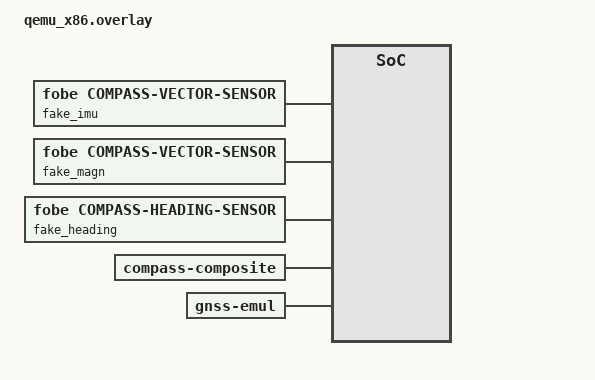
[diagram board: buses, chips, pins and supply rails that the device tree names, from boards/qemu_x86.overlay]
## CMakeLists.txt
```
# Copyright (c) 2026 FoBE Studio
# SPDX-License-Identifier: Apache-2.0

cmake_minimum_required(VERSION 3.20.0)

list(APPEND DTS_ROOT ${CMAKE_CURRENT_SOURCE_DIR})

find_package(Zephyr REQUIRED HINTS $ENV{ZEPHYR_BASE})
project(mbs_gnss_heading_contract_test)

zephyr_linker_sources(DATA_SECTIONS power_action_iterable.ld)

if(CONFIG_COMPASS_COMPOSITE)
	target_sources(app PRIVATE src/test_api.c)
else()
	target_sources(app PRIVATE src/test_direct.c)
endif()
```

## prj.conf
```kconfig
# SPDX-FileCopyrightText: FoBE Studio
# SPDX-License-Identifier: Apache-2.0

CONFIG_ZTEST=y
CONFIG_ASSERT=y
CONFIG_LOG=y
CONFIG_LOG_MODE_MINIMAL=y

CONFIG_SENSOR=y
CONFIG_GNSS=y
CONFIG_GNSS_EMUL=y
CONFIG_PM_DEVICE=y
CONFIG_PM_DEVICE_RUNTIME=y

CONFIG_MBS=y
CONFIG_SHELL=y
CONFIG_MBS_SHELL=y
CONFIG_MBS_GNSS=y
CONFIG_MBS_GNSS_SHELL=n
CONFIG_MBS_GNSS_STATS=n
CONFIG_MBS_GNSS_DEFAULT_ENABLED=n
CONFIG_MBS_GNSS_HEADING_SAMPLE_INTERVAL=20
CONFIG_MBS_GNSS_HEADING_PROVIDER_SETTLE_MS=0
CONFIG_MBS_STATS=y

CONFIG_ZBUS_RUNTIME_OBSERVERS=y
CONFIG_SETTINGS=y
CONFIG_SETTINGS_NONE=y

CONFIG_MAIN_STACK_SIZE=4096
CONFIG_SYSTEM_WORKQUEUE_STACK_SIZE=4096
CONFIG_ZTEST_STACK_SIZE=4096
```

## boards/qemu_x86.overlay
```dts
/*
 * Copyright (c) 2026 FoBE Studio
 *
 * SPDX-License-Identifier: Apache-2.0
 */

/ {
	fake_imu: fake-imu {
		compatible = "fobe,compass-vector-sensor";
		status = "okay";
		role = "imu";
	};

	fake_magn: fake-magn {
		compatible = "fobe,compass-vector-sensor";
		status = "okay";
		role = "magnetometer";
	};

	fake_heading: fake-heading {
		compatible = "fobe,compass-heading-sensor";
		status = "okay";
	};

	compass: compass {
		compatible = "zephyr,compass-composite";
		status = "okay";
		accel-source = <&fake_imu>;
		gyro-source = <&fake_imu>;
		magn-source = <&fake_magn>;
		source-startup-delay-ms = <0>;
		source-idle-timeout-ms = <0>;
		calibration-sample-period-ms = <0>;
		gyro-fusion-alpha-milli = <980>;
		imu-rate-override-supported;
	};

	chosen {
		meshbus,compass = &compass;
		meshbus,gnss = &gnss;
	};

	gnss: gnss {
		compatible = "zephyr,gnss-emul";
		status = "okay";
	};
};
```

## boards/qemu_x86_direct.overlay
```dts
/*
 * Copyright (c) 2026 FoBE Studio
 *
 * SPDX-License-Identifier: Apache-2.0
 */

/ {
	fake_imu: fake-imu {
		compatible = "fobe,compass-vector-sensor";
		status = "okay";
		role = "imu";
	};

	fake_magn: fake-magn {
		compatible = "fobe,compass-vector-sensor";
		status = "okay";
		role = "magnetometer";
	};

	fake_heading: fake-heading {
		compatible = "fobe,compass-heading-sensor";
		status = "okay";
	};

	compass: compass {
		compatible = "zephyr,compass-composite";
		status = "okay";
		accel-source = <&fake_imu>;
		gyro-source = <&fake_imu>;
		magn-source = <&fake_magn>;
		source-startup-delay-ms = <0>;
		source-idle-timeout-ms = <0>;
		calibration-sample-period-ms = <0>;
		gyro-fusion-alpha-milli = <980>;
	};

	chosen {
		meshbus,compass = &fake_heading;
	};
};
```

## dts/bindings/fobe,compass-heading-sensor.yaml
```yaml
description: Fake direct heading sensor for Meshbus GNSS heading tests

compatible: fobe,compass-heading-sensor

include: sensor-device.yaml
```

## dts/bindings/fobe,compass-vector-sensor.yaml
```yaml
# Copyright (c) 2026 FoBE Studio
# SPDX-License-Identifier: Apache-2.0

description: Fake vector sensor for Meshbus GNSS heading tests

compatible: fobe,compass-vector-sensor

include: sensor-device.yaml

properties:
  role:
    type: string
    required: true
    enum:
      - imu
      - magnetometer
```

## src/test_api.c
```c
/*
 * Copyright (c) 2026 FoBE Studio
 *
 * SPDX-License-Identifier: Apache-2.0
 */

#define DT_DRV_COMPAT fobe_compass_vector_sensor

#include <errno.h>
#include <string.h>

#include <zephyr/device.h>
#include <zephyr/drivers/sensor.h>
#include <drivers/sensor/compass_composite.h>
#include <zephyr/kernel.h>
#include <gnss/gnss.h>
#include <zephyr/pm/device.h>
#include <zephyr/pm/device_runtime.h>
#include <zephyr/sys/atomic.h>
#include <zephyr/ztest.h>

#define FAKE_IMU_NODE  DT_NODELABEL(fake_imu)
#define FAKE_MAGN_NODE DT_NODELABEL(fake_magn)
#define COMPASS_NODE   DT_NODELABEL(compass)

enum fake_vector_role {
	FAKE_VECTOR_ROLE_IMU,
	FAKE_VECTOR_ROLE_MAGNETOMETER,
};

struct fake_vector_config {
	enum fake_vector_role role;
};

struct fake_vector_data {
	atomic_t fetch_count;
	atomic_t resume_count;
	atomic_t suspend_count;
	atomic_t fetch_error;
	atomic_t gyro_attr_set_error;
	atomic_t resume_error;
	atomic_t suspend_error;
	atomic_t fail_resume_after_suspend;
	struct sensor_value accel_rate;
	struct sensor_value gyro_rate;
};

static const struct device *const fake_imu = DEVICE_DT_GET(FAKE_IMU_NODE);
static const struct device *const fake_magn = DEVICE_DT_GET(FAKE_MAGN_NODE);
static const struct device *const compass = DEVICE_DT_GET(COMPASS_NODE);

static int fake_vector_pm_action(const struct device *dev, enum pm_device_action action)
{
	struct fake_vector_data *data = dev->data;

	switch (action) {
	case PM_DEVICE_ACTION_RESUME:
		if (atomic_get(&data->resume_error) != 0) {
			return (int)atomic_get(&data->resume_error);
		}
		atomic_inc(&data->resume_count);
		return 0;
	case PM_DEVICE_ACTION_SUSPEND:
		if (atomic_get(&data->suspend_error) != 0) {
			return (int)atomic_get(&data->suspend_error);
		}
		atomic_inc(&data->suspend_count);
		if (atomic_cas(&data->fail_resume_after_suspend, 1, 0)) {
			atomic_set(&data->resume_error, -EIO);
		}
		return 0;
	case PM_DEVICE_ACTION_TURN_ON:
	case PM_DEVICE_ACTION_TURN_OFF:
		return 0;
	default:
		return -ENOTSUP;
	}
}

static int fake_vector_init(const struct device *dev)
{
	struct fake_vector_data *data = dev->data;

	data->accel_rate = (struct sensor_value){.val1 = 12, .val2 = 500000};
	data->gyro_rate = data->accel_rate;
	return pm_device_driver_init(dev, fake_vector_pm_action);
}

static int fake_vector_sample_fetch(const struct device *dev, enum sensor_channel chan)
{
	struct fake_vector_data *data = dev->data;

	ARG_UNUSED(chan);
	atomic_inc(&data->fetch_count);
	return (int)atomic_get(&data->fetch_error);
}

static int fake_vector_channel_get(const struct device *dev, enum sensor_channel chan,
				   struct sensor_value *val)
{
	const struct fake_vector_config *cfg = dev->config;

	if (val == NULL) {
		return -EINVAL;
	}

	for (size_t i = 0; i < 3U; i++) {
		val[i] = (struct sensor_value){0};
	}
	if (cfg->role == FAKE_VECTOR_ROLE_IMU && chan == SENSOR_CHAN_ACCEL_XYZ) {
		val[2].val1 = 1;
		return 0;
	}
	if (cfg->role == FAKE_VECTOR_ROLE_IMU && chan == SENSOR_CHAN_GYRO_XYZ) {
		return 0;
	}
	if (cfg->role == FAKE_VECTOR_ROLE_MAGNETOMETER && chan == SENSOR_CHAN_MAGN_XYZ) {
		val[0].val1 = 1;
		return 0;
	}
	return -ENOTSUP;
}

static int fake_vector_attr_set(const struct device *dev, enum sensor_channel chan,
				enum sensor_attribute attr, const struct sensor_value *val)
{
	const struct fake_vector_config *cfg = dev->config;
	struct fake_vector_data *data = dev->data;

	if (val == NULL || cfg->role != FAKE_VECTOR_ROLE_IMU ||
	    attr != SENSOR_ATTR_SAMPLING_FREQUENCY) {
		return -ENOTSUP;
	}
	if (chan == SENSOR_CHAN_ACCEL_XYZ) {
		data->accel_rate = *val;
		return 0;
	}
	if (chan == SENSOR_CHAN_GYRO_XYZ) {
		if (atomic_get(&data->gyro_attr_set_error) != 0) {
			return (int)atomic_get(&data->gyro_attr_set_error);
		}
		data->gyro_rate = *val;
		return 0;
	}
	return -ENOTSUP;
}

static int fake_vector_attr_get(const struct device *dev, enum sensor_channel chan,
				enum sensor_attribute attr, struct sensor_value *val)
{
	const struct fake_vector_config *cfg = dev->config;
	struct fake_vector_data *data = dev->data;

	if (val == NULL || cfg->role != FAKE_VECTOR_ROLE_IMU ||
	    attr != SENSOR_ATTR_SAMPLING_FREQUENCY) {
		return -ENOTSUP;
	}
	if (chan == SENSOR_CHAN_ACCEL_XYZ) {
		*val = data->accel_rate;
		return 0;
	}
	if (chan == SENSOR_CHAN_GYRO_XYZ) {
		*val = data->gyro_rate;
		return 0;
	}
	return -ENOTSUP;
}

static DEVICE_API(sensor, fake_vector_api) = {
	.sample_fetch = fake_vector_sample_fetch,
	.channel_get = fake_vector_channel_get,
	.attr_set = fake_vector_attr_set,
	.attr_get = fake_vector_attr_get,
};

#define FAKE_VECTOR_DEFINE(inst)                                                         \
	static struct fake_vector_data fake_vector_data_##inst;                           \
	static const struct fake_vector_config fake_vector_config_##inst = {              \
		.role = DT_INST_ENUM_IDX(inst, role),                                        \
	};                                                                                 \
	PM_DEVICE_DT_INST_DEFINE(inst, fake_vector_pm_action);                              \
	SENSOR_DEVICE_DT_INST_DEFINE(inst, fake_vector_init, PM_DEVICE_DT_INST_GET(inst),   \
				     &fake_vector_data_##inst, &fake_vector_config_##inst,    \
				     POST_KERNEL, CONFIG_SENSOR_INIT_PRIORITY, &fake_vector_api);

DT_INST_FOREACH_STATUS_OKAY(FAKE_VECTOR_DEFINE)

static struct fake_vector_data *fake_data(const struct device *dev)
{
	return dev->data;
}

static void fake_counters_reset(const struct device *dev)
{
	struct fake_vector_data *data = fake_data(dev);

	atomic_set(&data->fetch_count, 0);
	atomic_set(&data->resume_count, 0);
	atomic_set(&data->suspend_count, 0);
	atomic_set(&data->fetch_error, 0);
	atomic_set(&data->gyro_attr_set_error, 0);
	atomic_set(&data->resume_error, 0);
	atomic_set(&data->suspend_error, 0);
	atomic_set(&data->fail_resume_after_suspend, 0);
	data->accel_rate = (struct sensor_value){.val1 = 12, .val2 = 500000};
	data->gyro_rate = data->accel_rate;
}

static void wait_for_sequence_after(uint32_t sequence,
				    struct mbs_gnss_heading_snapshot *snapshot)
{
	for (size_t attempt = 0; attempt < 50U; attempt++) {
		zassert_ok(mbs_gnss_heading_snapshot_get(snapshot));
		if (snapshot->sequence > sequence &&
		    snapshot->state != MBS_GNSS_HEADING_STATE_STARTING) {
			return;
		}
		k_sleep(K_MSEC(10));
	}
	zassert_unreachable("Compass sample did not complete");
}

static void compass_release_all(void)
{
	struct mbs_gnss_heading_runtime_status status;

	zassert_ok(mbs_gnss_heading_runtime_status_get(&status));
	while (status.active_client_count > 0U) {
		zassert_ok(mbs_gnss_heading_release());
		zassert_ok(mbs_gnss_heading_runtime_status_get(&status));
	}
}

static void *compass_setup(void)
{
	zassert_true(device_is_ready(fake_imu));
	zassert_true(device_is_ready(fake_magn));
	zassert_true(device_is_ready(compass));
	compass_release_all();
	return NULL;
}

static void compass_before(void *fixture)
{
	mbs_gnss_config cfg;

	ARG_UNUSED(fixture);
	atomic_set(&fake_data(fake_imu)->gyro_attr_set_error, 0);
	atomic_set(&fake_data(fake_imu)->resume_error, 0);
	atomic_set(&fake_data(fake_imu)->suspend_error, 0);
	atomic_set(&fake_data(fake_magn)->resume_error, 0);
	atomic_set(&fake_data(fake_magn)->suspend_error, 0);
	compass_release_all();
	zassert_ok(mbs_gnss_config_get(&cfg));
	cfg.enabled = false;
	cfg.has_electronic_compass = true;
	cfg.electronic_compass = true;
	zassert_ok(mbs_gnss_config_set(&cfg));
	fake_counters_reset(fake_imu);
	fake_counters_reset(fake_magn);
}

ZTEST(mbs_gnss_heading_contract, test_composite_sources_are_unique)
{
	const struct device *sources[3];

	zassert_equal(compass_composite_sources_get(compass, NULL, 0U), 2);
	zassert_equal(compass_composite_sources_get(compass, sources, ARRAY_SIZE(sources)), 2);
	zassert_equal_ptr(sources[0], fake_imu);
	zassert_equal_ptr(sources[1], fake_magn);
}

ZTEST(mbs_gnss_heading_contract, test_idle_service_does_not_poll_or_power_provider)
{
	struct mbs_gnss_heading_runtime_status status;
	struct mbs_gnss_heading_snapshot before;
	struct mbs_gnss_heading_snapshot after;

	zassert_ok(mbs_gnss_heading_runtime_status_get(&status));
	zassert_false(status.active);
	zassert_equal(status.active_client_count, 0U);
	zassert_equal(status.sample_interval_ms, CONFIG_MBS_GNSS_HEADING_SAMPLE_INTERVAL);
	zassert_ok(mbs_gnss_heading_snapshot_get(&before));
	zassert_equal(before.source, MBS_GNSS_HEADING_SOURCE_ELECTRONIC);
	k_sleep(K_MSEC(CONFIG_MBS_GNSS_HEADING_SAMPLE_INTERVAL * 3U));
	zassert_ok(mbs_gnss_heading_snapshot_get(&after));
	zassert_equal(after.sequence, before.sequence);
	zassert_equal(after.state, MBS_GNSS_HEADING_STATE_IDLE);
	zassert_false(after.valid);
	zassert_equal(atomic_get(&fake_data(fake_imu)->fetch_count), 0);
	zassert_equal(atomic_get(&fake_data(fake_magn)->fetch_count), 0);
	zassert_equal(pm_device_runtime_usage(fake_imu), 0);
	zassert_equal(pm_device_runtime_usage(fake_magn), 0);
	zassert_equal(mbs_gnss_heading_release(), -EALREADY);
}

ZTEST(mbs_gnss_heading_contract, test_page_lease_is_refcounted_and_restores_provider)
{
	struct mbs_gnss_heading_runtime_status status;
	struct mbs_gnss_heading_snapshot before;
	struct mbs_gnss_heading_snapshot after;
	struct sensor_value rate;

	zassert_ok(mbs_gnss_heading_snapshot_get(&before));
	zassert_ok(mbs_gnss_heading_acquire());
	zassert_ok(mbs_gnss_heading_runtime_status_get(&status));
	zassert_true(status.active);
	zassert_equal(status.active_client_count, 1U);
	zassert_true((status.capabilities & COMPASS_CAP_RATE_OVERRIDE) != 0U);
	zassert_equal(pm_device_runtime_usage(fake_imu), 1);
	zassert_equal(pm_device_runtime_usage(fake_magn), 1);
	zassert_ok(sensor_attr_get(fake_imu, SENSOR_CHAN_ACCEL_XYZ,
				   SENSOR_ATTR_SAMPLING_FREQUENCY, &rate));
	zassert_equal(rate.val1, CONFIG_MBS_GNSS_HEADING_PROVIDER_FAST_FREQUENCY);
	zassert_ok(sensor_attr_get(fake_imu, SENSOR_CHAN_GYRO_XYZ,
				   SENSOR_ATTR_SAMPLING_FREQUENCY, &rate));
	zassert_equal(rate.val1, CONFIG_MBS_GNSS_HEADING_PROVIDER_FAST_FREQUENCY);

	wait_for_sequence_after(before.sequence, &after);
	zassert_true(after.valid);
	zassert_equal(after.state, MBS_GNSS_HEADING_STATE_READY);
	zassert_equal(after.last_error, 0);
	zassert_true(after.source_timestamp_ms > 0U);
	zassert_within(after.heading_milli_deg, 0, 1);
	zassert_equal(after.source, MBS_GNSS_HEADING_SOURCE_ELECTRONIC);

	zassert_ok(mbs_gnss_heading_acquire());
	zassert_ok(mbs_gnss_heading_runtime_status_get(&status));
	zassert_equal(status.active_client_count, 2U);
	zassert_equal(atomic_get(&fake_data(fake_imu)->resume_count), 1);
	zassert_equal(atomic_get(&fake_data(fake_magn)->resume_count), 1);
	zassert_ok(mbs_gnss_heading_release());
	zassert_ok(mbs_gnss_heading_runtime_status_get(&status));
	zassert_true(status.active);
	zassert_equal(status.active_client_count, 1U);

	zassert_ok(mbs_gnss_heading_release());
	zassert_ok(mbs_gnss_heading_runtime_status_get(&status));
	zassert_false(status.active);
	zassert_equal(status.active_client_count, 0U);
	zassert_equal(pm_device_runtime_usage(fake_imu), 0);
	zassert_equal(pm_device_runtime_usage(fake_magn), 0);
	zassert_ok(sensor_attr_get(fake_imu, SENSOR_CHAN_ACCEL_XYZ,
				   SENSOR_ATTR_SAMPLING_FREQUENCY, &rate));
	zassert_equal(rate.val1, 12);
	zassert_equal(rate.val2, 500000);
	zassert_ok(sensor_attr_get(fake_imu, SENSOR_CHAN_GYRO_XYZ,
				   SENSOR_ATTR_SAMPLING_FREQUENCY, &rate));
	zassert_equal(rate.val1, 12);
	zassert_equal(rate.val2, 500000);
	zassert_ok(mbs_gnss_heading_snapshot_get(&after));
	zassert_equal(after.state, MBS_GNSS_HEADING_STATE_IDLE);
	zassert_false(after.valid);
}

ZTEST(mbs_gnss_heading_contract, test_fetch_error_commits_new_invalid_snapshot)
{
	struct mbs_gnss_heading_snapshot before;
	struct mbs_gnss_heading_snapshot after;

	zassert_ok(mbs_gnss_heading_acquire());
	zassert_ok(mbs_gnss_heading_snapshot_get(&before));
	atomic_set(&fake_data(fake_magn)->fetch_error, -EIO);
	wait_for_sequence_after(before.sequence, &after);
	zassert_false(after.valid);
	zassert_equal(after.state, MBS_GNSS_HEADING_STATE_ERROR);
	zassert_equal(after.last_error, -EIO);
}

ZTEST(mbs_gnss_heading_contract, test_source_change_waits_for_widget_release)
{
	mbs_gnss_config cfg;
	struct mbs_gnss_heading_snapshot snapshot;

	zassert_ok(mbs_gnss_heading_acquire());
	zassert_ok(mbs_gnss_config_get(&cfg));
	cfg.has_electronic_compass = true;
	cfg.electronic_compass = false;
	zassert_equal(mbs_gnss_config_set(&cfg), -EBUSY);
	zassert_ok(mbs_gnss_heading_snapshot_get(&snapshot));
	zassert_equal(snapshot.source, MBS_GNSS_HEADING_SOURCE_ELECTRONIC);

	zassert_ok(mbs_gnss_heading_release());
	zassert_ok(mbs_gnss_config_set(&cfg));
	zassert_ok(mbs_gnss_heading_snapshot_get(&snapshot));
	zassert_equal(snapshot.source, MBS_GNSS_HEADING_SOURCE_COURSE);
}

ZTEST(mbs_gnss_heading_contract, test_active_runtime_uses_fixed_cadence)
{
	struct mbs_gnss_heading_snapshot before;
	struct mbs_gnss_heading_snapshot after;

	zassert_ok(mbs_gnss_heading_snapshot_get(&before));
	zassert_ok(mbs_gnss_heading_acquire());
	k_sleep(K_MSEC(CONFIG_MBS_GNSS_HEADING_SAMPLE_INTERVAL * 4U + 10U));
	zassert_ok(mbs_gnss_heading_snapshot_get(&after));
	zassert_true(after.sequence >= before.sequence + 3U,
		     "samples before=%u after=%u", before.sequence, after.sequence);
}

ZTEST(mbs_gnss_heading_contract, test_profile_failure_rolls_back_power_and_imu_rate)
{
	struct mbs_gnss_heading_runtime_status status;
	struct sensor_value rate;

	atomic_set(&fake_data(fake_imu)->gyro_attr_set_error, -EIO);
	zassert_equal(mbs_gnss_heading_acquire(), -EIO);
	zassert_ok(mbs_gnss_heading_runtime_status_get(&status));
	zassert_false(status.active);
	zassert_equal(status.active_client_count, 0U);
	zassert_equal(pm_device_runtime_usage(fake_imu), 0);
	zassert_equal(pm_device_runtime_usage(fake_magn), 0);
	zassert_ok(sensor_attr_get(fake_imu, SENSOR_CHAN_ACCEL_XYZ,
				   SENSOR_ATTR_SAMPLING_FREQUENCY, &rate));
	zassert_equal(rate.val1, 12);
	zassert_equal(rate.val2, 500000);
}

ZTEST(mbs_gnss_heading_contract, test_provider_resume_failure_rolls_back_first_source)
{
	struct mbs_gnss_heading_runtime_status status;

	atomic_set(&fake_data(fake_magn)->resume_error, -EIO);
	zassert_equal(mbs_gnss_heading_acquire(), -EIO);
	zassert_ok(mbs_gnss_heading_runtime_status_get(&status));
	zassert_false(status.active);
	zassert_equal(status.active_client_count, 0U);
	zassert_equal(pm_device_runtime_usage(fake_imu), 0);
	zassert_equal(pm_device_runtime_usage(fake_magn), 0);
}

ZTEST(mbs_gnss_heading_contract, test_suspend_failure_keeps_last_lease_retryable)
{
	struct mbs_gnss_heading_runtime_status status;
	struct mbs_gnss_heading_snapshot snapshot;

	zassert_ok(mbs_gnss_heading_acquire());
	atomic_set(&fake_data(fake_magn)->suspend_error, -EIO);
	zassert_equal(mbs_gnss_heading_release(), -EIO);

	zassert_ok(mbs_gnss_heading_runtime_status_get(&status));
	zassert_true(status.active);
	zassert_equal(status.active_client_count, 1U);
	zassert_equal(pm_device_runtime_usage(fake_imu), 1);
	zassert_equal(pm_device_runtime_usage(fake_magn), 1);
	zassert_ok(mbs_gnss_heading_snapshot_get(&snapshot));
	zassert_equal(snapshot.source, MBS_GNSS_HEADING_SOURCE_ELECTRONIC);
	zassert_equal(snapshot.state, MBS_GNSS_HEADING_STATE_ERROR);
	zassert_equal(snapshot.last_error, -EIO);

	atomic_set(&fake_data(fake_magn)->suspend_error, 0);
	zassert_ok(mbs_gnss_heading_release());
	zassert_ok(mbs_gnss_heading_runtime_status_get(&status));
	zassert_false(status.active);
	zassert_equal(status.active_client_count, 0U);
	zassert_equal(pm_device_runtime_usage(fake_imu), 0);
	zassert_equal(pm_device_runtime_usage(fake_magn), 0);
}

ZTEST(mbs_gnss_heading_contract, test_calibration_reset_temporarily_powers_provider)
{
	struct mbs_gnss_heading_runtime_status status;

	zassert_ok(mbs_gnss_heading_calibration_reset());
	zassert_ok(mbs_gnss_heading_runtime_status_get(&status));
	zassert_false(status.active);
	zassert_equal(pm_device_runtime_usage(fake_imu), 0);
	zassert_equal(pm_device_runtime_usage(fake_magn), 0);
	zassert_equal(atomic_get(&fake_data(fake_imu)->resume_count), 1);
	zassert_equal(atomic_get(&fake_data(fake_magn)->resume_count), 1);
	zassert_equal(atomic_get(&fake_data(fake_imu)->fetch_count), 0);
	zassert_equal(atomic_get(&fake_data(fake_magn)->fetch_count), 0);
}

ZTEST(mbs_gnss_heading_contract, test_course_acquire_triggers_gnss_acquisition)
{
	struct mbs_gnss_heading_runtime_status status;
	mbs_gnss_config cfg;

	zassert_ok(mbs_gnss_config_get(&cfg));
	cfg.has_electronic_compass = true;
	cfg.electronic_compass = false;
	zassert_ok(mbs_gnss_config_set(&cfg));

	/* A disabled GNSS error is propagated instead of creating a dead lease. */
	zassert_equal(mbs_gnss_heading_acquire(), -EACCES);
	zassert_ok(mbs_gnss_heading_runtime_status_get(&status));
	zassert_false(status.active);

	cfg.enabled = true;
	zassert_ok(mbs_gnss_config_set(&cfg));
	zassert_ok(mbs_gnss_heading_acquire());
	zassert_ok(mbs_gnss_heading_runtime_status_get(&status));
	zassert_true(status.active);
	zassert_equal(status.active_client_count, 1U);
	zassert_ok(mbs_gnss_heading_release());

	cfg.enabled = false;
	cfg.electronic_compass = true;
	zassert_ok(mbs_gnss_config_set(&cfg));
}

ZTEST_SUITE(mbs_gnss_heading_contract, NULL, compass_setup, compass_before, NULL, NULL);
```

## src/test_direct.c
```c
/*
 * Copyright (c) 2026 FoBE Studio
 *
 * SPDX-License-Identifier: Apache-2.0
 */

#define DT_DRV_COMPAT fobe_compass_heading_sensor

#include <errno.h>
#include <string.h>

#include <zephyr/device.h>
#include <zephyr/drivers/sensor.h>
#include <drivers/sensor/compass.h>
#include <zephyr/kernel.h>
#include <gnss/gnss.h>
#include <power/power.h>
#include <zephyr/pm/device.h>
#include <zephyr/pm/device_runtime.h>
#include <zephyr/sys/atomic.h>
#include <zephyr/ztest.h>

#define FAKE_HEADING_NODE DT_NODELABEL(fake_heading)
#define COMPASS_HEADING_CHANNEL ((enum sensor_channel)SENSOR_CHAN_COMPASS_HEADING)

struct fake_heading_data {
	atomic_t fetch_count;
	atomic_t resume_count;
	atomic_t suspend_count;
	atomic_t calibration_reset_count;
	atomic_t block_fetch;
};

K_SEM_DEFINE(fetch_entered, 0, 1);
K_SEM_DEFINE(fetch_release, 0, 1);
K_SEM_DEFINE(power_action_done, 0, 1);
K_THREAD_STACK_DEFINE(power_action_stack, 2048);
static struct k_thread power_action_thread;

static const struct device *const fake_heading = DEVICE_DT_GET(FAKE_HEADING_NODE);

static int fake_heading_pm_action(const struct device *dev, enum pm_device_action action)
{
	struct fake_heading_data *data = dev->data;

	switch (action) {
	case PM_DEVICE_ACTION_RESUME:
		atomic_inc(&data->resume_count);
		return 0;
	case PM_DEVICE_ACTION_SUSPEND:
		atomic_inc(&data->suspend_count);
		return 0;
	case PM_DEVICE_ACTION_TURN_ON:
	case PM_DEVICE_ACTION_TURN_OFF:
		return 0;
	default:
		return -ENOTSUP;
	}
}

static int fake_heading_init(const struct device *dev)
{
	return pm_device_driver_init(dev, fake_heading_pm_action);
}

static int fake_heading_sample_fetch(const struct device *dev, enum sensor_channel chan)
{
	struct fake_heading_data *data = dev->data;

	if (chan != SENSOR_CHAN_ALL && chan != COMPASS_HEADING_CHANNEL) {
		return -ENOTSUP;
	}
	atomic_inc(&data->fetch_count);
	if (atomic_get(&data->block_fetch) != 0) {
		k_sem_give(&fetch_entered);
		(void)k_sem_take(&fetch_release, K_FOREVER);
	}
	return 0;
}

static int fake_heading_channel_get(const struct device *dev, enum sensor_channel chan,
				    struct sensor_value *value)
{
	ARG_UNUSED(dev);
	if (chan != COMPASS_HEADING_CHANNEL || value == NULL) {
		return -ENOTSUP;
	}
	*value = (struct sensor_value){.val1 = 123, .val2 = 456000};
	return 0;
}

static int fake_heading_attr_set(const struct device *dev, enum sensor_channel chan,
				 enum sensor_attribute attr,
				 const struct sensor_value *value)
{
	struct fake_heading_data *data = dev->data;

	if (chan != COMPASS_HEADING_CHANNEL || value == NULL) {
		return -ENOTSUP;
	}
	if ((int)attr == SENSOR_ATTR_COMPASS_CAL_RESET) {
		atomic_inc(&data->calibration_reset_count);
		return 0;
	}
	/* A direct provider may use a fixed native output data rate. */
	if ((int)attr == SENSOR_ATTR_COMPASS_RATE_OVERRIDE) {
		return -ENOTSUP;
	}
	return -ENOTSUP;
}

static int fake_heading_attr_get(const struct device *dev, enum sensor_channel chan,
				 enum sensor_attribute attr, struct sensor_value *value)
{
	ARG_UNUSED(dev);
	if (chan != COMPASS_HEADING_CHANNEL || value == NULL) {
		return -ENOTSUP;
	}

	value->val2 = 0;
	switch ((int)attr) {
	case SENSOR_ATTR_COMPASS_CAPABILITIES:
		value->val1 = COMPASS_CAP_CALIBRATION | COMPASS_CAP_ACCURACY;
		return 0;
	case SENSOR_ATTR_COMPASS_ACCURACY:
		value->val1 = COMPASS_ACCURACY_MEDIUM;
		return 0;
	case SENSOR_ATTR_COMPASS_CAL_HINT:
		value->val1 = COMPASS_CAL_HINT_NONE;
		return 0;
	default:
		return -ENOTSUP;
	}
}

static DEVICE_API(sensor, fake_heading_api) = {
	.attr_set = fake_heading_attr_set,
	.attr_get = fake_heading_attr_get,
	.sample_fetch = fake_heading_sample_fetch,
	.channel_get = fake_heading_channel_get,
};

static struct fake_heading_data fake_heading_data;
PM_DEVICE_DT_DEFINE(FAKE_HEADING_NODE, fake_heading_pm_action);
SENSOR_DEVICE_DT_DEFINE(FAKE_HEADING_NODE, fake_heading_init,
			PM_DEVICE_DT_GET(FAKE_HEADING_NODE), &fake_heading_data, NULL,
			POST_KERNEL, CONFIG_SENSOR_INIT_PRIORITY, &fake_heading_api);

static void release_all(void)
{
	struct mbs_gnss_heading_runtime_status status;

	zassert_ok(mbs_gnss_heading_runtime_status_get(&status));
	while (status.active_client_count > 0U) {
		zassert_ok(mbs_gnss_heading_release());
		zassert_ok(mbs_gnss_heading_runtime_status_get(&status));
	}
}

static void wait_for_valid_snapshot(struct mbs_gnss_heading_snapshot *snapshot)
{
	for (size_t attempt = 0; attempt < 50U; attempt++) {
		zassert_ok(mbs_gnss_heading_snapshot_get(snapshot));
		if (snapshot->valid) {
			return;
		}
		k_sleep(K_MSEC(10));
	}
	zassert_unreachable("Direct provider sample did not complete");
}

static void *direct_setup(void)
{
	zassert_true(device_is_ready(fake_heading));
	release_all();
	return NULL;
}

static void direct_before(void *fixture)
{
	ARG_UNUSED(fixture);
	release_all();
	atomic_set(&fake_heading_data.fetch_count, 0);
	atomic_set(&fake_heading_data.resume_count, 0);
	atomic_set(&fake_heading_data.suspend_count, 0);
	atomic_set(&fake_heading_data.calibration_reset_count, 0);
	atomic_set(&fake_heading_data.block_fetch, 0);
	k_sem_reset(&fetch_entered);
	k_sem_reset(&fetch_release);
	k_sem_reset(&power_action_done);
}

static void power_action_publish_thread(void *p1, void *p2, void *p3)
{
	ARG_UNUSED(p1);
	ARG_UNUSED(p2);
	ARG_UNUSED(p3);

	STRUCT_SECTION_FOREACH(mbs_power_action_callback, callback) {
		callback->callback(MBS_POWER_ACTION_SHUTDOWN, callback->user_data);
	}
	k_sem_give(&power_action_done);
}

ZTEST(mbs_gnss_heading_direct_contract, test_direct_heading_provider_uses_common_api)
{
	struct mbs_gnss_heading_runtime_status status;
	struct mbs_gnss_heading_snapshot snapshot;

	zassert_ok(mbs_gnss_heading_runtime_status_get(&status));
	zassert_false(status.active);

	zassert_ok(mbs_gnss_heading_acquire());
	zassert_ok(mbs_gnss_heading_runtime_status_get(&status));
	zassert_equal(status.capabilities,
		      COMPASS_CAP_CALIBRATION | COMPASS_CAP_ACCURACY);
	wait_for_valid_snapshot(&snapshot);
	zassert_equal(snapshot.source, MBS_GNSS_HEADING_SOURCE_ELECTRONIC);
	zassert_equal(snapshot.state, MBS_GNSS_HEADING_STATE_READY);
	zassert_equal(snapshot.accuracy, MBS_GNSS_HEADING_ACCURACY_MEDIUM);
	zassert_equal(snapshot.heading_milli_deg, 123456);
	zassert_true(atomic_get(&fake_heading_data.fetch_count) >= 1);
	zassert_equal(pm_device_runtime_usage(fake_heading), 1);

	zassert_ok(mbs_gnss_heading_release());
	zassert_equal(pm_device_runtime_usage(fake_heading), 0);
}

ZTEST(mbs_gnss_heading_direct_contract, test_direct_calibration_reset_is_temporary)
{
	zassert_ok(mbs_gnss_heading_calibration_reset());
	for (size_t attempt = 0;
	     attempt < 10U && atomic_get(&fake_heading_data.suspend_count) == 0;
	     attempt++) {
		k_sleep(K_MSEC(1));
	}
	zassert_equal(atomic_get(&fake_heading_data.calibration_reset_count), 1);
	zassert_true(atomic_get(&fake_heading_data.resume_count) >= 1);
	zassert_true(atomic_get(&fake_heading_data.suspend_count) >= 1);
	zassert_equal(pm_device_runtime_usage(fake_heading), 0);
}

/* Terminal by design: keep this lexically last because power_quiescing is irreversible. */
ZTEST(mbs_gnss_heading_direct_contract, test_zz_shutdown_waits_for_inflight_provider_io)
{
	struct mbs_gnss_heading_runtime_status status;
	mbs_gnss_config cfg;
	int fetch_count;

	atomic_set(&fake_heading_data.block_fetch, 1);
	zassert_ok(mbs_gnss_heading_acquire());
	zassert_ok(k_sem_take(&fetch_entered, K_SECONDS(1)));

	k_thread_create(&power_action_thread, power_action_stack,
			K_THREAD_STACK_SIZEOF(power_action_stack),
			power_action_publish_thread, NULL, NULL, NULL,
			K_PRIO_PREEMPT(0), 0, K_NO_WAIT);
	k_sleep(K_MSEC(10));
	zassert_equal(k_sem_take(&power_action_done, K_NO_WAIT), -EBUSY);
	zassert_equal(pm_device_runtime_usage(fake_heading), 1);

	k_sem_give(&fetch_release);
	zassert_ok(k_sem_take(&power_action_done, K_SECONDS(1)));
	zassert_ok(k_thread_join(&power_action_thread, K_SECONDS(1)));
	zassert_ok(mbs_gnss_heading_runtime_status_get(&status));
	zassert_false(status.active);
	zassert_equal(status.active_client_count, 0U);
	zassert_equal(pm_device_runtime_usage(fake_heading), 0);

	atomic_set(&fake_heading_data.block_fetch, 0);
	fetch_count = atomic_get(&fake_heading_data.fetch_count);
	k_sleep(K_MSEC(CONFIG_MBS_GNSS_HEADING_SAMPLE_INTERVAL * 2U));
	zassert_equal(atomic_get(&fake_heading_data.fetch_count), fetch_count);

	zassert_equal(mbs_gnss_heading_acquire(), -ESHUTDOWN);
	zassert_equal(mbs_gnss_heading_calibration_reset(), -ESHUTDOWN);
	zassert_ok(mbs_gnss_config_get(&cfg));
	cfg.has_electronic_compass = true;
	cfg.electronic_compass = false;
	zassert_equal(mbs_gnss_config_set(&cfg), -ESHUTDOWN);
	zassert_equal(pm_device_runtime_usage(fake_heading), 0);
}

ZTEST_SUITE(mbs_gnss_heading_direct_contract, NULL, direct_setup, direct_before, NULL, NULL);
```
